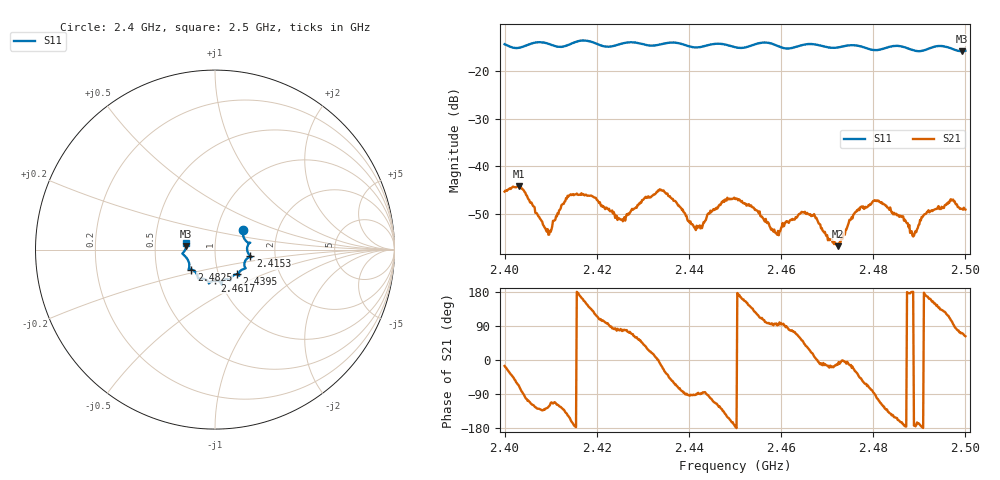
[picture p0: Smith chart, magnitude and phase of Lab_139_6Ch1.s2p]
# Hz S RI R 50
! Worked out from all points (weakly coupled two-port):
!   601 points, 2.4 GHz to 2.5 GHz, reference 50 ohm
!   highest |S21| = -44.12 dB at 2.4032 GHz (marker M1); lowest = -56.7 dB at 2.4723 GHz (marker M2)
!   lowest |S11| = -15.9 dB at 2.4992 GHz (marker M3), VSWR 1.38, Z = 36.2 + j1.5 ohm
!   |S11| at or under -10 dB: start of sweep to end of sweep
!   S12 and S22 are empty: the file has one direction only
!   S11 on the Smith chart (normalised r, x): 2.4 GHz: 1.33, +0.30; 2.4153 GHz: 1.49, -0.11; 2.4395 GHz: 1.23, -0.35; 2.4617 GHz: 0.94, -0.33; 2.4825 GHz: 0.75, -0.17; 2.5 GHz: 0.72, +0.05
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2.4e9  0.1565 0.1089  0.00524 -0.00147  0 0  0 0
2.403167e9  0.1652 0.0577  0.00213 -0.00585  0 0  0 0
2.4095e9  0.1896 0.0341  -0.00107 -0.00159  0 0  0 0
2.415333e9  0.1972 -0.0371  -0.00506 -0.000422  0 0  0 0
2.416667e9  0.2039 -0.0419  -0.00503 0.00141  0 0  0 0
2.425667e9  0.1674 -0.0997  0.000472 0.00261  0 0  0 0
2.433333e9  0.1327 -0.133  0.00561 4.36e-05  0 0  0 0
2.4395e9  0.1229 -0.1377  6.19e-05 -0.00301  0 0  0 0
2.442333e9  0.0957 -0.1496  2.04e-05 -0.0024  0 0  0 0
2.45e9  0.0668 -0.1646  -0.00455 -0.000392  0 0  0 0
2.458667e9  0.0339 -0.185  -0.000205 0.00203  0 0  0 0
2.461667e9  0.000378 -0.1719  0.000439 0.00252  0 0  0 0
2.466667e9  -0.0338 -0.1884  0.00285 0.000977  0 0  0 0
2.472333e9  -0.0712 -0.1614  0.00142 -0.000308  0 0  0 0
2.477e9  -0.0954 -0.1556  0.00244 -0.00248  0 0  0 0
2.4825e9  -0.1324 -0.1112  -0.00244 -0.00312  0 0  0 0
2.483333e9  -0.1397 -0.1103  -0.00266 -0.00246  0 0  0 0
2.4885e9  -0.1429 -0.0843  -0.00188 9.29e-06  0 0  0 0
2.492167e9  -0.1687 -0.0349  -0.00312 0.00106  0 0  0 0
2.497167e9  -0.1701 -0.00811  -0.000729 0.0044  0 0  0 0
2.499167e9  -0.1597 0.0202  0.00114 0.0034  0 0  0 0
2.5e9  -0.1594 0.0348  0.00161 0.00313  0 0  0 0
